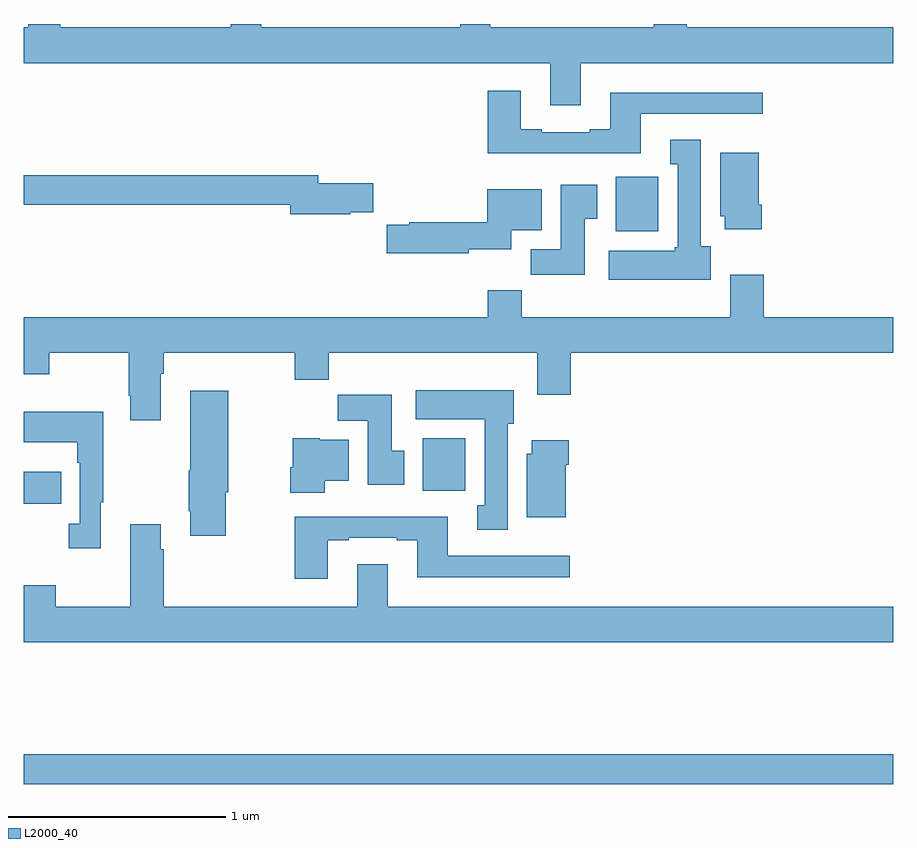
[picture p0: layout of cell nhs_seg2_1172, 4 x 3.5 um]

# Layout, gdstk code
import gdstk
lib = gdstk.Library(unit=1e-6, precision=1e-09)
def R(c, l, rs):  # rectangles x0, y0, x1, y1
    for r in rs: c.add(gdstk.rectangle(r[:2], r[2:], *l))
def P(c, l, *ps):  # polygons
    for p in ps: c.add(gdstk.Polygon(p, *l))
L2000_40 = (2000, 40)

nhs_seg2_1172 = lib.new_cell('nhs_seg2_1172')
R(nhs_seg2_1172, L2000_40, [(171,660.304,175,660.44), (171,661.594,171.173,661.741), (172.835,661.652,173.032,661.894), (173.723,662.846,173.919,663.097)])
P(nhs_seg2_1172, L2000_40, [(173.145,663.8),(173.007,663.8),(173.007,663.784),(172.093,663.784),(172.093,663.8),(171.953,663.8),(171.953,663.784),(171.169,663.784),(171.169,663.8),(171.022,663.8),(171.022,663.784),(171,663.784),(171,663.62),(173.423,663.62),(173.423,663.426),(173.563,663.426),(173.563,663.62),(175,663.62),(175,663.784),(174.05,663.784),(174.05,663.8),(173.897,663.8),(173.897,663.784),(173.145,663.784)],
  [(173.839,663.387),(174.4,663.387),(174.4,663.484),(173.699,663.484),(173.699,663.316),(173.603,663.316),(173.603,663.303),(173.383,663.303),(173.383,663.316),(173.287,663.316),(173.287,663.493),(173.135,663.493),(173.135,663.206),(173.839,663.206)],
  [(174.16,662.778),(174.115,662.778),(174.115,663.268),(173.975,663.268),(173.975,663.155),(174.008,663.155),(174.008,662.772),(173.995,662.772),(173.995,662.758),(173.691,662.758),(173.691,662.624),(174.16,662.624)],
  [(174.395,662.968),(174.382,662.968),(174.382,663.208),(174.203,663.208),(174.203,662.916),(174.224,662.916),(174.224,662.856),(174.395,662.856)],
  [(172.502,662.934),(172.607,662.934),(172.607,663.068),(172.354,663.068),(172.354,663.104),(171,663.104),(171,662.968),(172.226,662.968),(172.226,662.926),(172.502,662.926)],
  [(173.581,662.905),(173.638,662.905),(173.638,663.061),(173.471,663.061),(173.471,662.764),(173.332,662.764),(173.332,662.646),(173.581,662.646)],
  [(173.046,662.765),(173.242,662.765),(173.242,662.852),(173.383,662.852),(173.383,663.04),(173.132,663.04),(173.132,662.888),(172.774,662.888),(172.774,662.876),(172.669,662.876),(172.669,662.746),(173.046,662.746)],
  [(171.631,662.192),(171.644,662.192),(171.644,662.288),(172.247,662.288),(172.247,662.164),(172.403,662.164),(172.403,662.288),(173.363,662.288),(173.363,662.094),(173.516,662.094),(173.516,662.288),(175,662.288),(175,662.452),(174.404,662.452),(174.404,662.647),(174.251,662.647),(174.251,662.452),(173.291,662.452),(173.291,662.576),(173.135,662.576),(173.135,662.452),(171,662.452),(171,662.189),(171.117,662.189),(171.117,662.288),(171.484,662.288),(171.484,662.089),(171.491,662.089),(171.491,661.977),(171.631,661.977)],
  [(173.227,661.962),(173.254,661.962),(173.254,662.116),(172.803,662.116),(172.803,661.982),(173.12,661.982),(173.12,661.586),(173.087,661.586),(173.087,661.473),(173.227,661.473)],
  [(171.93,661.647),(171.94,661.647),(171.94,662.113),(171.767,662.113),(171.767,661.747),(171.76,661.747),(171.76,661.558),(171.767,661.558),(171.767,661.446),(171.93,661.446)],
  [(172.75,661.836),(172.693,661.836),(172.693,662.095),(172.444,662.095),(172.444,661.976),(172.583,661.976),(172.583,661.68),(172.75,661.68)],
  [(171.355,661.601),(171.367,661.601),(171.367,662.017),(171,662.017),(171,661.877),(171.246,661.877),(171.246,661.781),(171.258,661.781),(171.258,661.502),(171.207,661.502),(171.207,661.389),(171.355,661.389)],
  [(172.384,661.7),(172.495,661.7),(172.495,661.888),(172.362,661.888),(172.362,661.894),(172.237,661.894),(172.237,661.761),(172.226,661.761),(172.226,661.643),(172.384,661.643)],
  [(173.494,661.772),(173.507,661.772),(173.507,661.885),(173.336,661.885),(173.336,661.824),(173.315,661.824),(173.315,661.532),(173.494,661.532)],
  [(172.399,661.425),(172.495,661.425),(172.495,661.437),(172.715,661.437),(172.715,661.425),(172.811,661.425),(172.811,661.256),(173.512,661.256),(173.512,661.353),(172.951,661.353),(172.951,661.534),(172.247,661.534),(172.247,661.248),(172.399,661.248)],
  [(175,661.12),(172.675,661.12),(172.675,661.315),(172.535,661.315),(172.535,661.12),(171.644,661.12),(171.644,661.385),(171.631,661.385),(171.631,661.498),(171.491,661.498),(171.491,661.12),(171.147,661.12),(171.147,661.219),(171,661.219),(171,660.956),(175,660.956)])

lib.write_gds('nhs_seg2_1172.gds')
